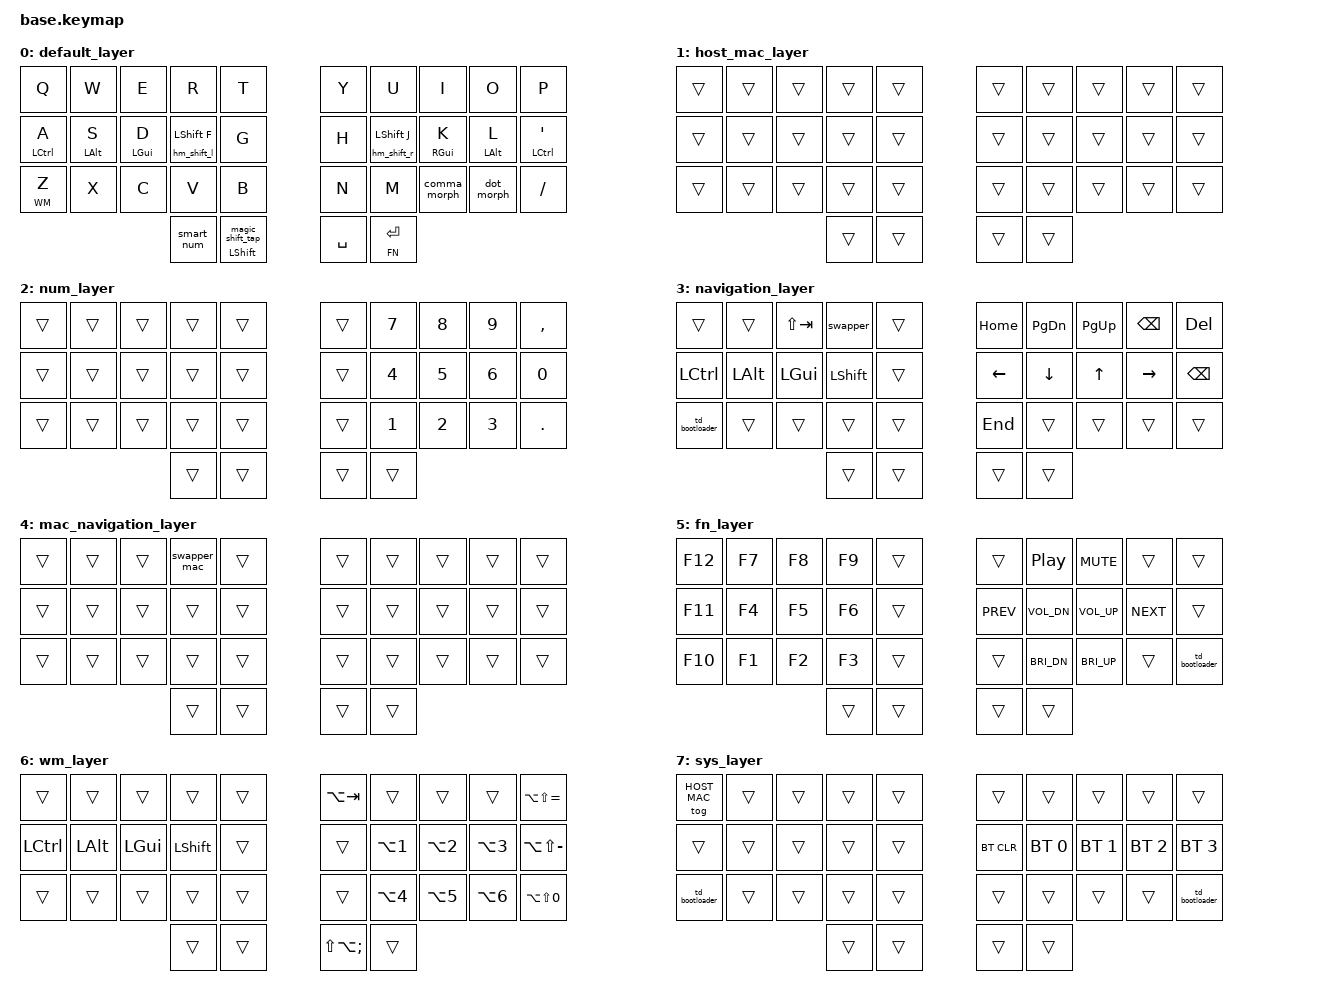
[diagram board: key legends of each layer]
// Copyright (c) 2022 The ZMK Contributors
// SPDX-License-Identifier: MIT

// ZMK includes
#include <behaviors.dtsi>
#include <behaviors/num_word.dtsi> // Requires auto-layer module (urob).
#include <dt-bindings/zmk/keys.h>
#include <dt-bindings/zmk/bt.h>
#ifdef CONFIG_WIRELESS
#include <dt-bindings/zmk/outputs.h>
#endif

// Urob zmk helper includes
#include "zmk-helpers/helper.h"
#include "zmk-helpers/unicode-chars/german.dtsi"

// Layer definitions
#define BASE 0
#define HOST_MAC 1
#define NUM 2
#define NAV 3
#define MAC_NAV 4
#define FN 5
#define WM 6
#define SYS 7

// Personal includes
#include "includes/behaviors_homerow_mods.dtsi"
#include "includes/combos.dtsi"
#include "includes/macros.dtsi"
#include "includes/leader.dtsi"

&sk {
  release-after-ms = <900>;
  quick-release;
};

/ {
    conditional_layers {
        compatible = "zmk,conditional-layers";
        tri_layer {
            if-layers = <NAV FN>;
            then-layer = <SYS>;
        };

        mac_navigation {
            if-layers = <HOST_MAC NAV>;
            then-layer = <MAC_NAV>;
        };
    };
};

/ {
    behaviors {
        // Magic Shift - Tap: Sticky shift | Double-tap: Caps word | Hold: Shift
        magic_shift_tap: magic_shift_tap {
            compatible = "zmk,behavior-mod-morph";
            #binding-cells = <0>;
            mods = <(MOD_LSFT|MOD_RSFT)>;
            bindings = <&sk LSHFT>, <&caps_word>;
        };

        magic_shift: magic_shift {
            compatible = "zmk,behavior-hold-tap";
            #binding-cells = <2>;
            flavor = "balanced";
            tapping-term-ms = <200>;
            quick-tap-ms = <150>;
            bindings = <&kp>, <&magic_shift_tap>;
        };

        // Smart Num - Tap: Smart num layer | Tap Tap (hold): mo num layer | Hold: Nav layer
        smart_num: smart_num {
            compatible = "zmk,behavior-tap-dance";
            #binding-cells = <0>;
            tapping-term-ms = <200>;
            bindings = <
                &ht_mo_numword NAV NUM  // Hold: nav-layer, Tap: num_word
                &mo NUM               // Double tap: num-layer
            >;
        };

        ht_mo_numword: ht_mo_numword {
            compatible = "zmk,behavior-hold-tap";
            #binding-cells = <2>;
            flavor = "balanced";
            tapping-term-ms = <200>;
            bindings = <&mo>, <&num_word>; 
        };

        // Alt+Tab swapper, requires tri-state module.
        swapper: swapper {
            compatible = "zmk,behavior-tri-state";
            #binding-cells = <0>;
            bindings = <&kt LALT>, <&kp TAB>, <&kt LALT>;
            ignored-key-positions = <LT2 RT2 RM1 RM2 RM3>;
        };

        // Cmd+Tab swapper for macOS host mode.
        swapper_mac: swapper_mac {
            compatible = "zmk,behavior-tri-state";
            #binding-cells = <0>;
            bindings = <&kt LGUI>, <&kp TAB>, <&kt LGUI>;
            ignored-key-positions = <LT2 RT2 RM1 RM2 RM3>;
        };

        // Tap: comma | Shift: semicolon | Ctrl+Shift: <
        comma_morph: comma_morph {
            compatible = "zmk,behavior-mod-morph";
            #binding-cells = <0>;
            bindings = <&kp COMMA>, <&comma_inner_morph>;
            mods = <(MOD_LSFT | MOD_RSFT)>;
        };

        comma_inner_morph: comma_inner_morph {
            compatible = "zmk,behavior-mod-morph";
            #binding-cells = <0>;
            bindings = <&kp SEMICOLON>, <&kp LT>;
            mods = <(MOD_LCTL | MOD_RCTL)>;
        };

        // Tap: dot | Shift: colon | Ctrl+Shift: >
        dot_morph: dot_morph {
            compatible = "zmk,behavior-mod-morph";
            #binding-cells = <0>;
            bindings = <&kp DOT>, <&dot_inner_morph>;
            mods = <(MOD_LSFT | MOD_RSFT)>;
        };

        dot_inner_morph: dot_inner_morph {
            compatible = "zmk,behavior-mod-morph";
            #binding-cells = <0>;
            bindings = <&kp COLON>, <&kp GREATER_THAN>;
            mods = <(MOD_LCTL | MOD_RCTL)>;
        };

        // Tap: ( | Shift: <
        lpar_lt: lpar_lt {
            compatible = "zmk,behavior-mod-morph";
            #binding-cells = <0>;
            bindings = <&kp LPAR>, <&kp LT>;
            mods = <(MOD_LSFT | MOD_RSFT)>;
        };

        // Tap: ) | Shift: >
        rpar_gt: rpar_gt {
            compatible = "zmk,behavior-mod-morph";
            #binding-cells = <0>;
            bindings = <&kp RPAR>, <&kp GT>;
            mods = <(MOD_LSFT | MOD_RSFT)>;
        };

        // Tap: backspace | LShift: delete
        bs_del: bs_del {
            compatible = "zmk,behavior-mod-morph";
            #binding-cells = <0>;
            bindings = <&kp BSPC>, <&kp DEL>;
            mods = <(MOD_LSFT | MOD_RSFT)>;
        };

        // Tap dance: single tap = copy | double tap = cut
        copy_cut: copy_cut {
            compatible = "zmk,behavior-tap-dance";
            #binding-cells = <0>;
            bindings = <&kp LC(INS)>, <&kp LC(X)>;
            tapping-term-ms = <200>;
        };

        copy_cut_mac: copy_cut_mac {
            compatible = "zmk,behavior-tap-dance";
            #binding-cells = <0>;
            bindings = <&kp LG(C)>, <&kp LG(X)>;
            tapping-term-ms = <200>;
        };

        td_bootloader: td_bootloader {
            compatible = "zmk,behavior-tap-dance";
            #binding-cells = <0>;
            tapping-term-ms = <200>;
            bindings = <&none>, <&bootloader>;
        };
    };
};

/ { 

    keymap {
        compatible = "zmk,keymap";
        default_layer {
            bindings = <
            &kp Q           &kp W         &kp E         &kp R                &kp T                &kp Y           &kp U                &kp I         &kp O         &kp P
            &hm_l LCTRL A   &hm_l LALT S  &hm_l LGUI D  &hm_shift_l LSHFT F  &kp G                &kp H           &hm_shift_r LSHFT J  &hm_r RGUI K  &hm_r LALT L  &hm_r LCTRL SQT
            &lt WM Z        &kp X         &kp C         &kp V                &kp B                &kp N           &kp M                &comma_morph  &dot_morph    &kp FSLH
                                                        &smart_num           &magic_shift LSHFT 0 &kp SPACE      &lt FN ENTER
            >;
        };

        host_mac_layer {
            bindings = <
            &trans     &trans  &trans  &trans  &trans    &trans  &trans  &trans  &trans  &trans
            &trans     &trans  &trans  &trans  &trans    &trans  &trans  &trans  &trans  &trans
            &trans     &trans  &trans  &trans  &trans    &trans  &trans  &trans  &trans  &trans
                                      &trans  &trans    &trans  &trans
            >;
        };

        num_layer {
            bindings = <
            &trans     &trans    &trans     &trans    &trans         &trans   &kp N7  &kp N8  &kp N9  &kp COMMA
            &trans     &trans    &trans     &trans    &trans         &trans   &kp N4  &kp N5  &kp N6  &kp N0
            &trans     &trans    &trans     &trans    &trans         &trans   &kp N1  &kp N2  &kp N3  &kp DOT
                                            &trans    &trans         &trans   &trans
            >;
        };

        navigation_layer {
            bindings = <
            &trans         &trans      &kp LS(TAB) &swapper   &trans              &kp HOME   &kp PG_DN &kp PG_UP  &kp BSPC    &kp DEL
            &kp LCTRL      &kp LALT    &kp LGUI   &kp LSHFT   &trans              &kp LEFT   &kp DOWN  &kp UP     &kp RIGHT   &kp BSPC
            &td_bootloader &trans      &trans     &trans      &trans              &kp END    &trans    &trans     &trans      &trans
                                                  &trans      &trans              &trans     &trans
            >;
        };

        mac_navigation_layer {
            bindings = <
            &trans     &trans  &trans  &swapper_mac  &trans    &trans  &trans  &trans  &trans  &trans
            &trans     &trans  &trans  &trans        &trans    &trans  &trans  &trans  &trans  &trans
            &trans     &trans  &trans  &trans        &trans    &trans  &trans  &trans  &trans  &trans
                                    &trans        &trans    &trans  &trans
            >;
        };

       fn_layer {
            bindings = <
            &kp F12      &kp F7     &kp F8     &kp F9     &trans        &trans      &kp C_PLAY_PAUSE &kp C_MUTE    &trans     &trans
            &kp F11      &kp F4     &kp F5     &kp F6     &trans        &kp C_PREV  &kp C_VOL_DN     &kp C_VOL_UP  &kp C_NEXT &trans
            &kp F10      &kp F1     &kp F2     &kp F3     &trans        &trans      &kp C_BRI_DN     &kp C_BRI_UP  &trans     &td_bootloader
                                               &trans     &trans        &trans      &trans
            >;
        };

        wm_layer {
            bindings = <
            &trans     &trans    &trans    &trans     &trans    &kp LA(TAB)      &trans      &trans      &trans      &kp LA(LS(EQUAL))
            &kp LCTRL  &kp LALT  &kp LGUI  &kp LSHFT  &trans    &trans           &kp LA(N1)  &kp LA(N2)  &kp LA(N3)  &kp LA(LS(MINUS))
            &trans     &trans    &trans    &trans     &trans    &trans           &kp LA(N4)  &kp LA(N5)  &kp LA(N6)  &kp LA(LS(N0))
                                           &trans     &trans    &kp LS(LA(SEMI)) &trans
            >;
        };

        sys_layer {
            bindings = <
            &tog HOST_MAC   &trans  &trans  &trans  &trans    &trans         &trans        &trans        &trans        &trans
            &trans          &trans  &trans  &trans  &trans    &bt BT_CLR     &bt BT_SEL 0  &bt BT_SEL 1  &bt BT_SEL 2  &bt BT_SEL 3
            &td_bootloader  &trans  &trans  &trans  &trans    &trans         &trans        &trans        &trans        &td_bootloader
                                            &trans  &trans    &trans         &trans
            >;
        };
    };
};
